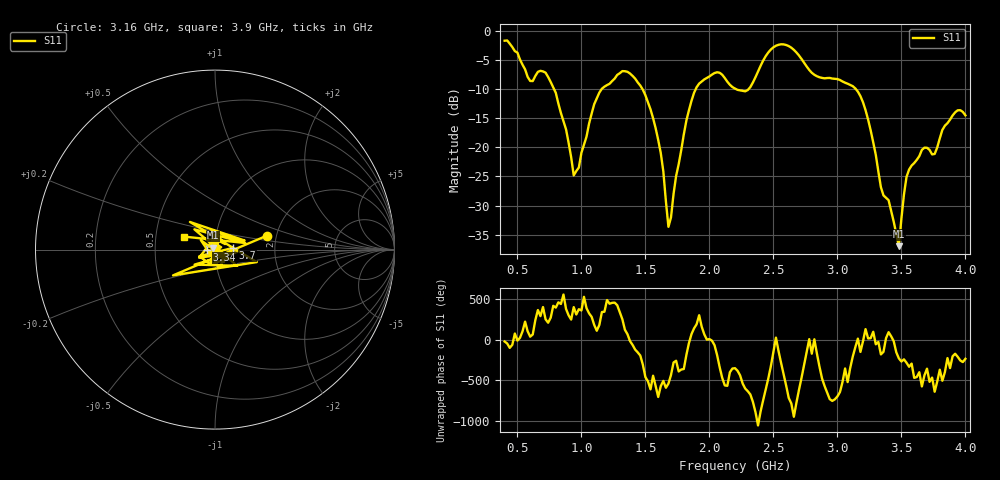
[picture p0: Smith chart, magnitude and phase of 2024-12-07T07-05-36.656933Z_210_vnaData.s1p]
!Created with skrf (http://scikit-rf.org).
# Hz S RI R 50.0
!freq ReS11 ImS11
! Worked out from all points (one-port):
!   181 points, 400 MHz to 4 GHz, reference 50 ohm
!   lowest |S11| = -37.0 dB at 3.48 GHz (marker M1), VSWR 1.03, Z = 49 + j1.03 ohm
!   |S11| at or under -10 dB: 786 MHz to 1.159 GHz (372.8 MHz wide, 38.3 % of centre); 1.477 GHz to 1.894 GHz (417.3 MHz wide, 24.8 % of centre); 3.143 GHz to end of sweep (the widest 3 of 4)
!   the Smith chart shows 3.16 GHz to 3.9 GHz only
!   S11 on the Smith chart (normalised r, x): 3.16 GHz: 1.78, +0.31; 3.34 GHz: 0.91, -0.00; 3.7 GHz: 1.22, +0.02; 3.9 GHz: 0.70, +0.10
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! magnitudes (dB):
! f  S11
! 400 MHz  -1.7
! 600 MHz  -8.6
! 720 MHz  -7.2
! 860 MHz  -15.5
! 940 MHz  -24.8
! 1.12 GHz  -11.6
! 1.3 GHz  -7.3
! 1.54 GHz  -13.5
! 1.62 GHz  -21.0
! 1.68 GHz  -33.7
! 1.76 GHz  -22.9
! 1.84 GHz  -13.7
! 1.92 GHz  -9.1
! 2.06 GHz  -7.1
! 2.2 GHz  -9.9
! 2.3 GHz  -10.2
! 2.5 GHz  -2.9
! 2.66 GHz  -3.3
! 3.1 GHz  -9.3
! 3.16 GHz  -10.5
! 3.24 GHz  -15.3
! 3.34 GHz  -26.9
! 3.48 GHz  -37.0
! 3.56 GHz  -23.8
! 3.7 GHz  -20.1
! 3.76 GHz  -21.1
! 3.9 GHz  -14.6
! 4 GHz  -14.5
